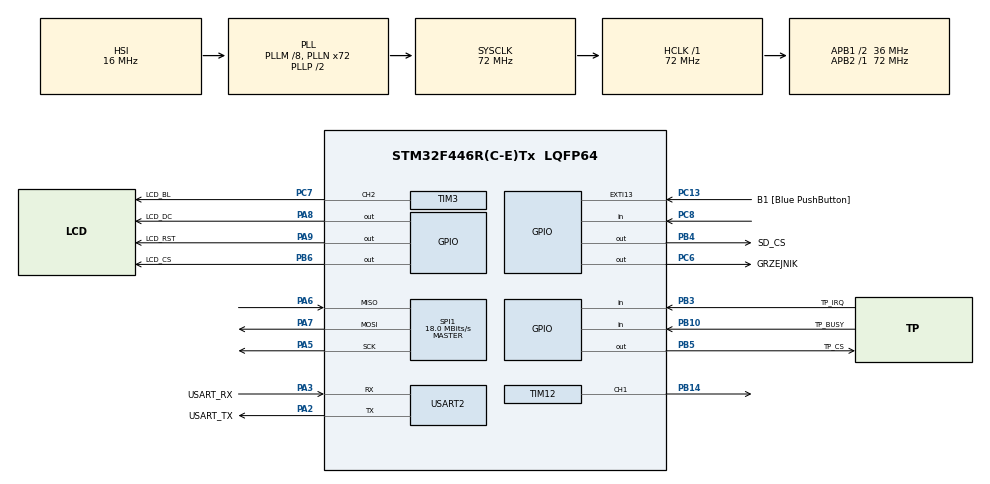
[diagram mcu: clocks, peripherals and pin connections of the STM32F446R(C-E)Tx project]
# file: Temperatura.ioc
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Mcu.Family=STM32F4
Mcu.Name=STM32F446R(C-E)Tx
Mcu.Package=LQFP64
NVIC.PriorityGroup=NVIC_PRIORITYGROUP_0
NVIC.TIM8_UP_TIM13_IRQn=true\:0\:0\:false\:false\:true\:true\:true
NVIC.USART2_IRQn=true\:0\:0\:false\:false\:true\:true\:true
PA13.GPIO_Label=TMS
PA13.Mode=Serial_Wire
PA13.Signal=SYS_JTMS-SWDIO
PA14.GPIO_Label=TCK
PA14.Mode=Serial_Wire
PA14.Signal=SYS_JTCK-SWCLK
PA2.GPIO_Label=USART_TX
PA2.Mode=Asynchronous
PA2.Signal=USART2_TX
PA3.GPIO_Label=USART_RX
PA3.Mode=Asynchronous
PA3.Signal=USART2_RX
PA5.Mode=Full_Duplex_Master
PA5.Signal=SPI1_SCK
PA6.Mode=Full_Duplex_Master
PA6.Signal=SPI1_MISO
PA7.Mode=Full_Duplex_Master
PA7.Signal=SPI1_MOSI
PA8.GPIO_Label=LCD_DC
PA8.Signal=GPIO_Output
PA9.GPIO_Label=LCD_RST
PA9.Signal=GPIO_Output
PB10.GPIO_Label=TP_BUSY
PB10.Signal=GPIO_Input
PB14.Signal=S_TIM12_CH1
PB3.GPIO_Label=TP_IRQ
PB3.Signal=GPIO_Input
PB4.GPIO_Label=SD_CS
PB4.Signal=GPIO_Output
PB5.GPIO_Label=TP_CS
PB5.Signal=GPIO_Output
PB6.GPIO_Label=LCD_CS
PB6.Signal=GPIO_Output
PC13.GPIO_Label=B1 [Blue PushButton]
PC13.GPIO_ModeDefaultEXTI=GPIO_MODE_IT_FALLING
PC13.Signal=GPXTI13
PC14-OSC32_IN.Mode=LSE-External-Oscillator
PC14-OSC32_IN.Signal=RCC_OSC32_IN
PC15-OSC32_OUT.Mode=LSE-External-Oscillator
PC15-OSC32_OUT.Signal=RCC_OSC32_OUT
PC6.GPIO_Label=GRZEJNIK
PC6.Signal=GPIO_Output
PC7.GPIO_Label=LCD_BL
PC7.Signal=S_TIM3_CH2
PC8.Signal=GPIO_Input
PH0-OSC_IN.Mode=HSE-External-Oscillator
PH0-OSC_IN.Signal=RCC_OSC_IN
PH1-OSC_OUT.Mode=HSE-External-Oscillator
PH1-OSC_OUT.Signal=RCC_OSC_OUT
ProjectManager.HeapSize=0x200
ProjectManager.StackSize=0x400
ProjectManager.TargetToolchain=MDK-ARM V5.27
RCC.48MHZClocksFreq_Value=84000000
RCC.AHBFreq_Value=72000000
RCC.APB1CLKDivider=RCC_HCLK_DIV2
RCC.APB1Freq_Value=36000000
RCC.APB1TimFreq_Value=72000000
RCC.APB2Freq_Value=72000000
RCC.APB2TimFreq_Value=72000000
RCC.CortexFreq_Value=72000000
RCC.FLatency-AdvancedSettings=FLASH_LATENCY_2
RCC.HCLKFreq_Value=72000000
RCC.HSE_VALUE=8000000
RCC.HSI_VALUE=16000000
RCC.PLLM=8
RCC.PLLN=72
RCC.SYSCLKFreq_VALUE=72000000
RCC.SYSCLKSource=RCC_SYSCLKSOURCE_PLLCLK
RCC.USBFreq_Value=72000000
RCC.VCOOutputFreq_Value=144000000
SH.S_TIM12_CH1.0=TIM12_CH1,PWM Generation1 CH1
SH.S_TIM3_CH2.0=TIM3_CH2,PWM Generation2 CH2
SPI1.BaudRatePrescaler=SPI_BAUDRATEPRESCALER_4
SPI1.CalculateBaudRate=18.0 MBits/s
SPI1.Direction=SPI_DIRECTION_2LINES
SPI1.Mode=SPI_MODE_MASTER
SPI1.VirtualType=VM_MASTER
TIM12.AutoReloadPreload=TIM_AUTORELOAD_PRELOAD_ENABLE
TIM12.Channel-PWM\ Generation1\ CH1=TIM_CHANNEL_1
TIM12.Period=999
TIM12.Prescaler=71
TIM13.Period=9999
TIM13.Prescaler=7199
TIM14.Period=71
TIM3.Channel-PWM\ Generation2\ CH2=TIM_CHANNEL_2
TIM3.Period=1000-1
TIM3.Prescaler=720-1
USART2.VirtualMode=VM_ASYNC
VP_TIM12_VS_ClockSourceINT.Mode=Internal
VP_TIM13_VS_ClockSourceINT.Mode=Enable_Timer
VP_TIM14_VS_ClockSourceINT.Mode=Enable_Timer
board=NUCLEO-F446RE

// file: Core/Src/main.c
/* USER CODE BEGIN Header */
/**
  ******************************************************************************
  * @file           : main.c
  * @brief          : Main program body
  ******************************************************************************
  * @attention
  *
  * <h2><center>&copy; Copyright (c) 2021 STMicroelectronics.
  * All rights reserved.</center></h2>
  *
  * This software component is licensed by ST under BSD 3-Clause license,
  * the "License"; You may not use this file except in compliance with the
  * License. You may obtain a copy of the License at:
  *                        opensource.org/licenses/BSD-3-Clause
  *
  ******************************************************************************
  */
/* USER CODE END Header */
#include "main.h"
#include "spi.h"
#include "tim.h"
#include "usart.h"
#include "gpio.h"

#include "DEV_Config.h"
#include "LCD_Driver.h"
#include "LCD_GUI.h"
#include "LCD_Touch.h"

/* USER CODE BEGIN Includes */
float temp = 0.0;
int16_t lamp = 0;
/* USER CODE END Includes */

void SystemClock_Config(void);

/* USER CODE BEGIN 0 */
void Delay_us (int16_t delay)
{
  htim14.Instance->CNT = 0;
	while(htim14.Instance->CNT <= delay);
}
void ONE_WIRE_SET(void)
{
	HAL_GPIO_WritePin(GPIOC, GPIO_PIN_8, GPIO_PIN_SET);
}

void ONE_WIRE_RESET(void)
{
	HAL_GPIO_WritePin(GPIOC, GPIO_PIN_8, GPIO_PIN_RESET);
}

uint8_t DS18B20_Init(void)
{
	ONE_WIRE_OUTPUT();
	ONE_WIRE_SET();
	Delay_us(5);
	ONE_WIRE_RESET();
	Delay_us(750);
	ONE_WIRE_SET();
	ONE_WIRE_INPUT();

	int i = 0;
	while(HAL_GPIO_ReadPin(GPIOC, GPIO_PIN_8))
	{
		i++;
		if(i > 60)
			return 0;
		Delay_us(1);
	}
	i = 480 - i;
	ONE_WIRE_OUTPUT();
	Delay_us(i);
	ONE_WIRE_SET();
	return 1;
}

void DS18B20_Write(uint8_t data)
{
  ONE_WIRE_OUTPUT();
  for (int i = 0; i < 8; i++)
  {
    ONE_WIRE_RESET();
    Delay_us(10);
    if (data & 1) ONE_WIRE_SET();
    else ONE_WIRE_RESET();
    data >>= 1;
    Delay_us(50);
    ONE_WIRE_SET();
  }
}

uint8_t DS18B20_Read()
{
  ONE_WIRE_OUTPUT();
  ONE_WIRE_SET();
  Delay_us(2);
  uint8_t data = 0;
  for (int i = 0; i < 8; i++)
  {
    ONE_WIRE_RESET();
    Delay_us(1);
    ONE_WIRE_SET();
    ONE_WIRE_INPUT();
    Delay_us(5);
    data >>= 1;
    if (HAL_GPIO_ReadPin(GPIOC, GPIO_PIN_8)) data |= 0x80;
    Delay_us(55);
    ONE_WIRE_OUTPUT();
    ONE_WIRE_SET();
  }
  return data;
}

int TempRead()
{
  if (!DS18B20_Init()) return 0;
  DS18B20_Write (0xCC); // Send skip ROM command
  DS18B20_Write (0x44); // Send reading start conversion command
  if (!DS18B20_Init()) return 0;
  DS18B20_Write (0xCC); // Send skip ROM command
  DS18B20_Write (0xBE); // Read the register, a total of nine bytes, the first two bytes are the conversion value
  int temp = DS18B20_Read (); // Low byte
  temp |= DS18B20_Read () << 8; // High byte
  return temp;
}

/* USER CODE END 0 */

int main(void)
{

  /* MCU Configuration--------------------------------------------------------*/

  /* Reset of all peripherals, Initializes the Flash interface and the Systick. */
  HAL_Init();

  /* Configure the system clock */
  SystemClock_Config();

  /* Initialize all configured peripherals */
  MX_GPIO_Init();
  MX_USART2_UART_Init();
  MX_TIM14_Init();
  MX_SPI1_Init();
  MX_TIM3_Init();
  MX_TIM13_Init();
	///PWM
  MX_TIM12_Init();
  /* USER CODE BEGIN 2 */
	HAL_TIM_Base_Start_IT(&htim14);
	HAL_TIM_Base_Start_IT(&htim13);
  /* USER CODE END 2 */
	HAL_TIM_PWM_Start(&htim12, TIM_CHANNEL_1);

	LCD_SCAN_DIR Lcd_ScanDir = SCAN_DIR_DFT;//SCAN_DIR_DFT = D2U_L2R
	LCD_Init(Lcd_ScanDir, 1000);
	TP_Init(Lcd_ScanDir);

	TP_GetAdFac();
	TP_Show_Main();
  /* Infinite loop */
  /* USER CODE BEGIN WHILE */
  while (1)
  {
//		DEV_TIME sDev_time;
//		sDev_time.Hour = 23;
//		sDev_time.Min = 38;
//		sDev_time.Sec = 56;

//		for (;;)
//		{
//			sDev_time.Sec++;
//			GUI_Showtime(200, 150, 327, 197, &sDev_time, RED);
//			Driver_Delay_ms(1000);//Analog clock 1s
//			if (sDev_time.Sec == 60)
//				sDev_time.Sec = 0;
//		}
		//for (;;)
			TP_Temp();

		//lamp += 100;
//		for (int i = 0 ; i < 100 ; i++)
//		{
//			__HAL_TIM_SET_COMPARE(&htim12, TIM_CHANNEL_1, i * 10);
//			HAL_Delay(100);
//		}
//
//		if (lamp == 1000)
//			lamp = 0;

		//HAL_Delay(500);
    /* USER CODE END WHILE */

  }
}

void SystemClock_Config(void)
{
  RCC_OscInitTypeDef RCC_OscInitStruct = {0};
  RCC_ClkInitTypeDef RCC_ClkInitStruct = {0};

  /** Configure the main internal regulator output voltage
  */
  __HAL_RCC_PWR_CLK_ENABLE();
  __HAL_PWR_VOLTAGESCALING_CONFIG(PWR_REGULATOR_VOLTAGE_SCALE3);
  /** Initializes the RCC Oscillators according to the specified parameters
  * in the RCC_OscInitTypeDef structure.
  */
  RCC_OscInitStruct.OscillatorType = RCC_OSCILLATORTYPE_HSI;
  RCC_OscInitStruct.HSIState = RCC_HSI_ON;
  RCC_OscInitStruct.HSICalibrationValue = RCC_HSICALIBRATION_DEFAULT;
  RCC_OscInitStruct.PLL.PLLState = RCC_PLL_ON;
  RCC_OscInitStruct.PLL.PLLSource = RCC_PLLSOURCE_HSI;
  RCC_OscInitStruct.PLL.PLLM = 8;
  RCC_OscInitStruct.PLL.PLLN = 72;
  RCC_OscInitStruct.PLL.PLLP = RCC_PLLP_DIV2;
  RCC_OscInitStruct.PLL.PLLQ = 2;
  RCC_OscInitStruct.PLL.PLLR = 2;
  if (HAL_RCC_OscConfig(&RCC_OscInitStruct) != HAL_OK)
  {
    Error_Handler();
  }
  /** Initializes the CPU, AHB and APB buses clocks
  */
  RCC_ClkInitStruct.ClockType = RCC_CLOCKTYPE_HCLK|RCC_CLOCKTYPE_SYSCLK
                              |RCC_CLOCKTYPE_PCLK1|RCC_CLOCKTYPE_PCLK2;
  RCC_ClkInitStruct.SYSCLKSource = RCC_SYSCLKSOURCE_PLLCLK;
  RCC_ClkInitStruct.AHBCLKDivider = RCC_SYSCLK_DIV1;
  RCC_ClkInitStruct.APB1CLKDivider = RCC_HCLK_DIV2;
  RCC_ClkInitStruct.APB2CLKDivider = RCC_HCLK_DIV1;

  if (HAL_RCC_ClockConfig(&RCC_ClkInitStruct, FLASH_LATENCY_2) != HAL_OK)
  {
    Error_Handler();
  }
}

/* USER CODE BEGIN 4 */
void HAL_TIM_PeriodElapsedCallback(TIM_HandleTypeDef *htim)
{
	if(htim->Instance == TIM13)
	{
		temp = TempRead() * 0.0625;
		TP_Show_Temp(temp);
	}
}
/* USER CODE END 4 */

void Error_Handler(void)
{
  __disable_irq();
  while (1)
  {
  }
}

/************************ (C) COPYRIGHT STMicroelectronics *****END OF FILE****/
